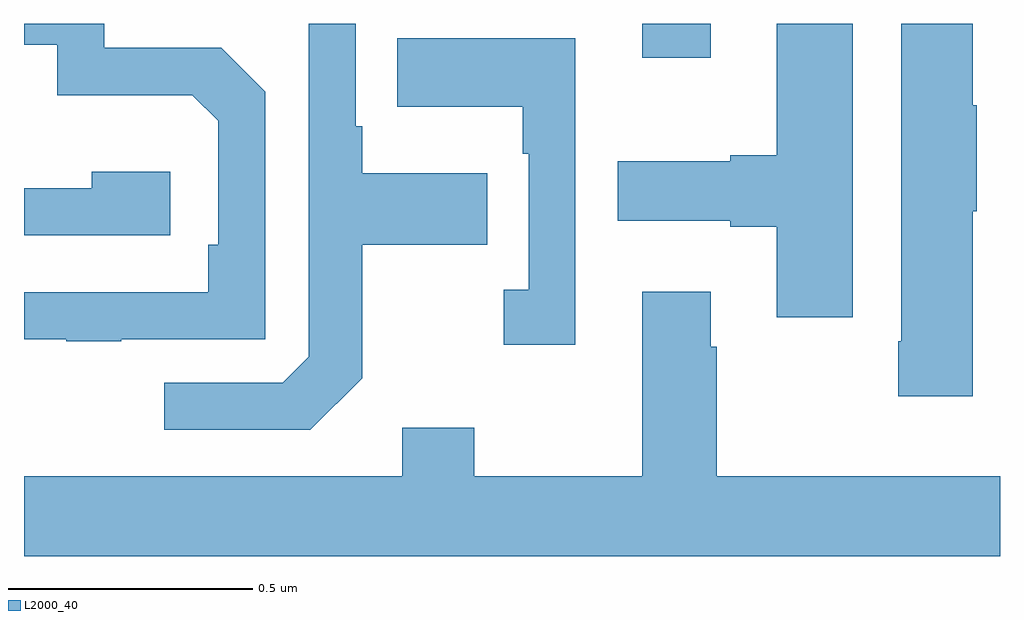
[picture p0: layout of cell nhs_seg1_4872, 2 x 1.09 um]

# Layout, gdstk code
import gdstk
lib = gdstk.Library(unit=1e-6, precision=1e-09)
def R(c, l, rs):  # rectangles x0, y0, x1, y1
    for r in rs: c.add(gdstk.rectangle(r[:2], r[2:], *l))
def P(c, l, *ps):  # polygons
    for p in ps: c.add(gdstk.Polygon(p, *l))
L2000_40 = (2000, 40)

nhs_seg1_4872 = lib.new_cell('nhs_seg1_4872')
R(nhs_seg1_4872, L2000_40, [(173.267,510.129,173.407,510.199)])
P(nhs_seg1_4872, L2000_40, [(172.693,509.473),(172.693,509.746),(172.949,509.746),(172.949,509.893),(172.693,509.893),(172.693,509.989),(172.68,509.989),(172.68,510.199),(172.583,510.199),(172.584,510.198),(172.584,509.517),(172.53,509.463),(172.287,509.463),(172.287,509.367),(172.587,509.367)],
  [(172.199,509.553),(172.494,509.553),(172.494,510.06),(172.404,510.15),(172.164,510.15),(172.164,510.199),(172,510.199),(172,510.156),(172.068,510.156),(172.068,510.053),(172.345,510.053),(172.398,510),(172.398,509.746),(172.378,509.746),(172.378,509.649),(172,509.649),(172,509.553),(172.087,509.553),(172.087,509.548),(172.199,509.548)],
  [(173.698,510.199),(173.543,510.199),(173.543,509.93),(173.447,509.93),(173.447,509.917),(173.217,509.917),(173.217,509.795),(173.447,509.795),(173.447,509.783),(173.543,509.783),(173.543,509.598),(173.698,509.598)],
  [(173.944,509.815),(173.952,509.815),(173.952,510.032),(173.944,510.032),(173.944,510.199),(173.798,510.199),(173.798,509.548),(173.791,509.548),(173.791,509.436),(173.944,509.436)],
  [(173.13,510.169),(172.765,510.169),(172.765,510.029),(173.022,510.029),(173.022,509.933),(173.034,509.933),(173.034,509.654),(172.983,509.654),(172.983,509.541),(173.13,509.541)],
  [(172.3,509.896),(172.139,509.896),(172.139,509.862),(172,509.862),(172,509.766),(172.3,509.766)],
  [(174,509.272),(173.42,509.272),(173.42,509.537),(173.407,509.537),(173.407,509.65),(173.267,509.65),(173.267,509.272),(172.923,509.272),(172.923,509.371),(172.775,509.371),(172.775,509.272),(172,509.272),(172,509.108),(174,509.108)])

lib.write_gds('nhs_seg1_4872.gds')
